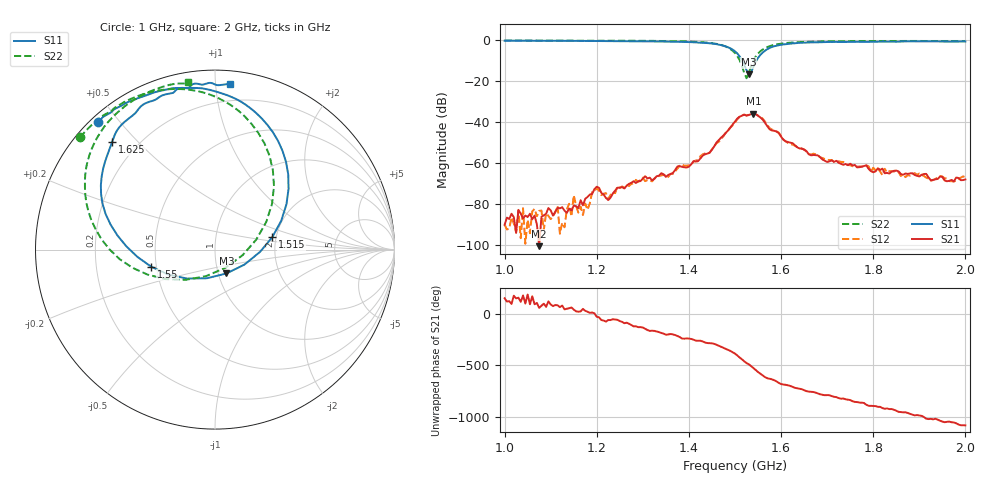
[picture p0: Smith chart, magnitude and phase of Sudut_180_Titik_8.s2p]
# Hz S RI R 50
! CMT, C1220, 16058040, 17.2.0/1
! Date: 14/08/2018 12:06:47
! Data: Format (Calibration Info)
! Freq  S11: Re/Im (F2)  S21: Re/Im (F2)  S12: Re/Im (F2)  S22: Re/Im (F2)
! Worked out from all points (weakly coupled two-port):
!   201 points, 1 GHz to 2 GHz, reference 50 ohm
!   highest |S21| = -35.96 dB at 1.54 GHz (marker M1); lowest = -100.6 dB at 1.075 GHz (marker M2)
!   lowest |S11| = -16.6 dB at 1.53 GHz (marker M3), VSWR 1.35, Z = 54.7 - j14.9 ohm
!   |S11| at or under -10 dB: 1.516 GHz to 1.546 GHz (30.86 MHz wide, 2.02 % of centre)
!   |S22| runs from -18.6 to -0.2 dB; largest |S21 - S12| = 0.00075
!   S11 on the Smith chart (normalised r, x): 1 GHz: 0.02, +0.44; 1.515 GHz: 1.91, +0.30; 1.55 GHz: 0.47, -0.10; 1.625 GHz: 0.11, +0.42; 2 GHz: 0.09, +1.09
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1e9  -0.6543 0.7097  -2.65e-05 1.6e-05  3.01e-05 8.53e-06  -0.7534 0.6257
1.075e9  -0.5784 0.7654  5.23e-06 7.67e-06  2.05e-06 6.73e-05  -0.6998 0.6814
1.145e9  -0.5107 0.8085  3.45e-05 5.95e-05  3.99e-05 2.84e-05  -0.6411 0.733
1.15e9  -0.507 0.8108  7.04e-05 5.75e-05  0.000115 0.000114  -0.6364 0.7368
1.17e9  -0.4866 0.8215  6.44e-05 6.64e-05  4.88e-05 2.21e-05  -0.6163 0.7515
1.185e9  -0.4629 0.8305  0.000168 2.09e-05  9.77e-05 3.65e-05  -0.5989 0.761
1.2e9  -0.4452 0.8366  0.000225 -0.000136  0.000208 -0.000122  -0.5823 0.7649
1.225e9  -0.417 0.8482  5.76e-05 -0.00011  8.01e-05 -0.000107  -0.5662 0.7838
1.245e9  -0.3781 0.861  0.000124 -0.000215  0.000154 -0.000226  -0.5422 0.8006
1.335e9  -0.2297 0.8995  -0.00049 -5.87e-06  -0.000475 3.32e-05  -0.3997 0.8661
1.45e9  0.1715 0.8068  0.000659 0.00201  0.000804 0.00198  0.0241 0.8411
1.5e9  0.4098 0.3387  0.00906 -0.00484  0.00857 -0.00448  0.3287 0.3527
1.515e9  0.3195 0.0695  0.00173 -0.0142  0.00216 -0.0143  0.2299 0.0556
1.525e9  0.1647 -0.0832  -0.00709 -0.0124  -0.00701 -0.0126  0.0589 -0.101
1.53e9  0.0635 -0.133  -0.00983 -0.0111  -0.00984 -0.0113  -0.0497 -0.1476
1.54e9  -0.156 -0.1613  -0.0156 -0.00335  -0.0155 -0.0035  -0.2741 -0.1648
1.55e9  -0.3556 -0.0953  -0.0128 0.00636  -0.0131 0.00584  -0.4598 -0.1013
1.58e9  -0.627 0.2567  0.000757 0.00617  0.00113 0.00641  -0.7065 0.2167
1.625e9  -0.5736 0.5974  0.003 0.000485  0.00276 0.000475  -0.7012 0.5214
1.67e9  -0.4621 0.7445  0.00119 -0.00101  0.00131 -0.00106  -0.6248 0.6734
1.835e9  -0.1607 0.8989  -0.000494 0.000243  -0.000563 0.000274  -0.3754 0.8746
2e9  0.0857 0.921  0.000395 -3.17e-05  0.000444 -4.43e-05  -0.1506 0.9334
